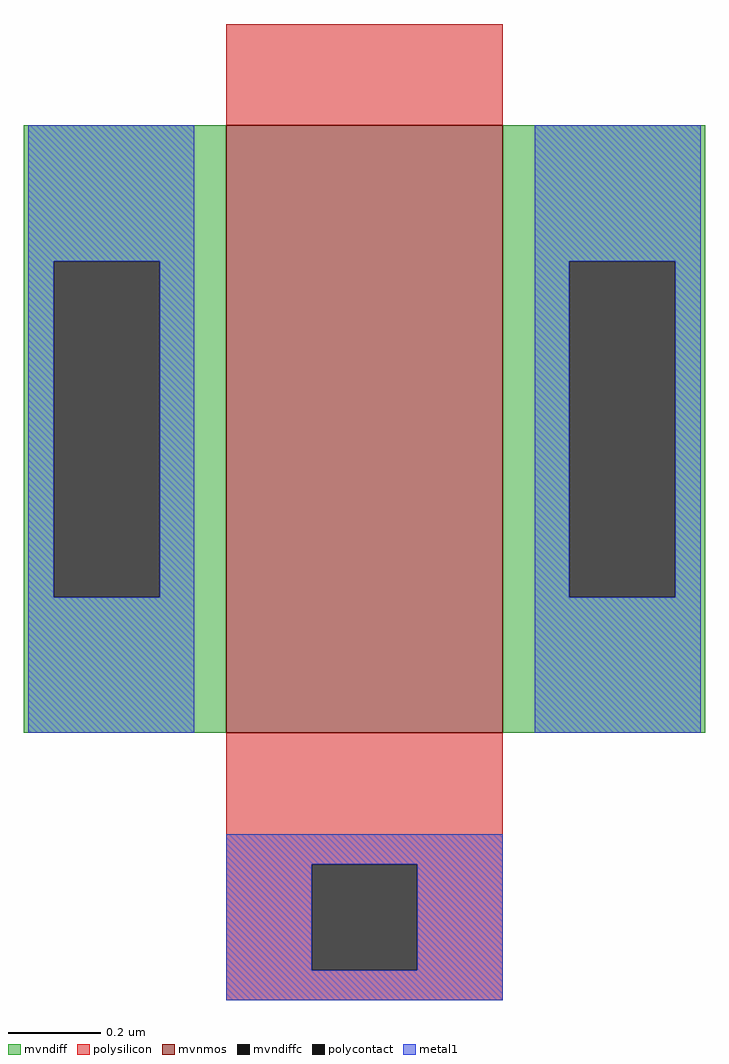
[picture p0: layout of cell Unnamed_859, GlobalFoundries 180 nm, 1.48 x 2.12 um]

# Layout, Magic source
magic
tech gf180mcuD
magscale 1 10
<< mvnmos >>
rect 14 0 134 264
<< mvndiff >>
rect -74 205 14 264
rect -74 59 -61 205
rect -15 59 14 205
rect -74 0 14 59
rect 134 205 222 264
rect 134 59 163 205
rect 209 59 222 205
rect 134 0 222 59
<< mvndiffc >>
rect -61 59 -15 205
rect 163 59 209 205
<< polysilicon >>
rect 14 264 134 308
rect 14 -57 134 0
rect 14 -103 51 -57
rect 97 -103 134 -57
rect 14 -116 134 -103
<< polycontact >>
rect 51 -103 97 -57
<< metal1 >>
rect -72 205 0 264
rect -72 59 -61 205
rect -15 59 0 205
rect -72 0 0 59
rect 148 205 220 264
rect 148 59 163 205
rect 209 59 220 205
rect 148 0 220 59
rect 14 -57 134 -44
rect 14 -103 51 -57
rect 97 -103 134 -57
rect 14 -116 134 -103
<< end >>
